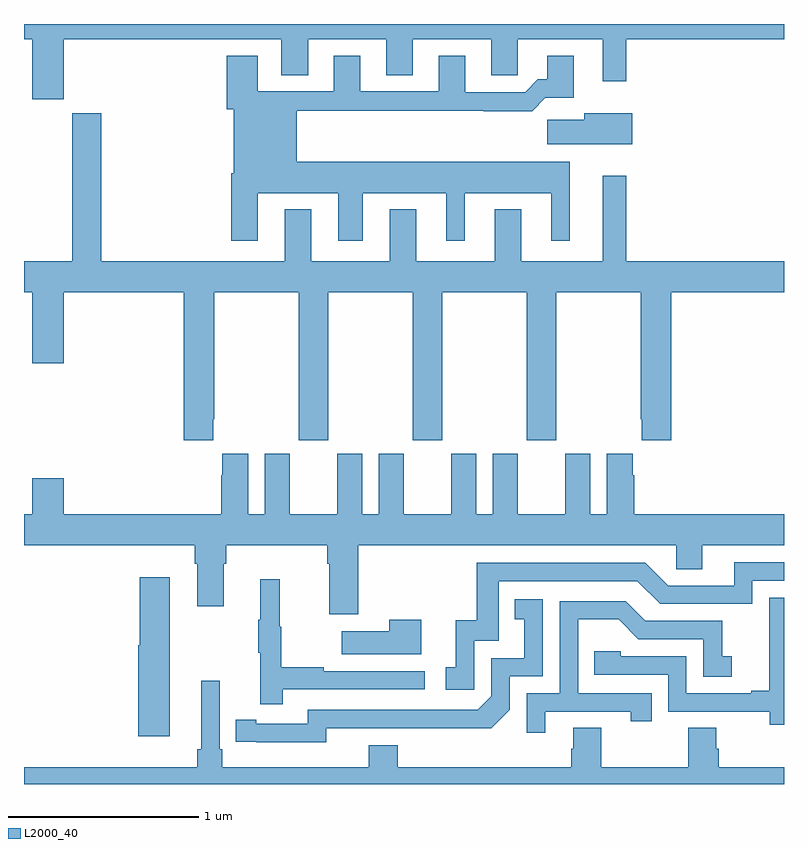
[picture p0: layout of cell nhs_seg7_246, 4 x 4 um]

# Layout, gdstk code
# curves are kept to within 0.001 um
import gdstk
lib = gdstk.Library(unit=1e-6, precision=1e-09)
def P(c, l, *ps):  # polygons
    for p in ps: c.add(gdstk.Polygon(p, *l))
L2000_40 = (2000, 40)

nhs_seg7_246 = lib.new_cell('nhs_seg7_246')
P(nhs_seg7_246, L2000_40, [(129.208,1029.92),(130.355,1029.92),(130.355,1029.73),(130.495,1029.73),(130.495,1029.92),(130.907,1029.92),(130.907,1029.73),(131.047,1029.73),(131.047,1029.92),(131.459,1029.92),(131.459,1029.73),(131.598,1029.73),(131.598,1029.92),(132.047,1029.92),(132.047,1029.699),(132.169,1029.699),(132.169,1029.92),(133,1029.92),(133,1030),(129,1030),(129,1029.92),(129.044,1029.92),(129.044,1029.603),(129.208,1029.603)],
  [(130.231,1029.11),(130.655,1029.11),(130.655,1028.859),(130.783,1028.859),(130.783,1029.11),(131.222,1029.11),(131.222,1028.859),(131.32,1028.859),(131.32,1029.11),(131.774,1029.11),(131.774,1028.859),(131.872,1028.859),(131.872,1029.274),(130.435,1029.274),(130.435,1029.544),(131.419,1029.544),(131.419,1029.542),(131.675,1029.542),(131.744,1029.611),(131.893,1029.611),(131.893,1029.832),(131.753,1029.832),(131.753,1029.709),(131.704,1029.709),(131.637,1029.642),(131.323,1029.642),(131.323,1029.832),(131.183,1029.832),(131.183,1029.645),(130.771,1029.645),(130.771,1029.832),(130.631,1029.832),(130.631,1029.645),(130.231,1029.645),(130.231,1029.832),(130.067,1029.832),(130.067,1029.552),(130.103,1029.552),(130.103,1029.214),(130.091,1029.214),(130.091,1028.859),(130.231,1028.859)],
  [(131.617,1029.025),(131.477,1029.025),(131.477,1028.752),(131.065,1028.752),(131.065,1029.025),(130.925,1029.025),(130.925,1028.752),(130.513,1028.752),(130.513,1029.025),(130.373,1029.025),(130.373,1028.752),(129.407,1028.752),(129.407,1029.531),(129.254,1029.531),(129.254,1028.752),(129,1028.752),(129,1028.588),(129.044,1028.588),(129.044,1028.214),(129.208,1028.214),(129.208,1028.588),(129.842,1028.588),(129.842,1027.809),(129.997,1027.809),(129.997,1027.921),(130.002,1027.921),(130.002,1028.588),(130.447,1028.588),(130.447,1027.809),(130.602,1027.809),(130.602,1028.588),(131.047,1028.588),(131.047,1027.809),(131.202,1027.809),(131.202,1028.588),(131.647,1028.588),(131.647,1027.809),(131.802,1027.809),(131.802,1028.588),(132.247,1028.588),(132.247,1027.921),(132.251,1027.921),(132.251,1027.809),(132.407,1027.809),(132.407,1028.588),(133,1028.588),(133,1028.752),(132.169,1028.752),(132.169,1029.202),(132.047,1029.202),(132.047,1028.752),(131.617,1028.752)],
  [(132.202,1029.529),(131.948,1029.529),(131.948,1029.497),(131.754,1029.497),(131.754,1029.368),(132.202,1029.368)],
  [(130.76,1027.256),(132.432,1027.256),(132.432,1027.129),(132.571,1027.129),(132.571,1027.256),(133,1027.256),(133,1027.42),(132.212,1027.42),(132.212,1027.625),(132.205,1027.625),(132.205,1027.738),(132.068,1027.738),(132.068,1027.42),(131.98,1027.42),(131.98,1027.738),(131.849,1027.738),(131.849,1027.42),(131.599,1027.42),(131.599,1027.738),(131.468,1027.738),(131.468,1027.42),(131.38,1027.42),(131.38,1027.738),(131.249,1027.738),(131.249,1027.42),(130.999,1027.42),(130.999,1027.738),(130.868,1027.738),(130.868,1027.42),(130.78,1027.42),(130.78,1027.738),(130.649,1027.738),(130.649,1027.42),(130.399,1027.42),(130.399,1027.738),(130.268,1027.738),(130.268,1027.42),(130.18,1027.42),(130.18,1027.738),(130.043,1027.738),(130.043,1027.625),(130.037,1027.625),(130.037,1027.42),(129.208,1027.42),(129.208,1027.609),(129.044,1027.609),(129.044,1027.42),(129,1027.42),(129,1027.256),(129.899,1027.256),(129.899,1027.16),(129.911,1027.16),(129.911,1026.936),(130.051,1026.936),(130.051,1027.16),(130.064,1027.16),(130.064,1027.256),(130.595,1027.256),(130.595,1027.16),(130.607,1027.16),(130.607,1026.894),(130.76,1026.894)],
  [(131.37,1026.753),(131.499,1026.753),(131.499,1027.068),(132.228,1027.068),(132.348,1026.948),(132.834,1026.948),(132.834,1027.071),(133,1027.071),(133,1027.167),(132.737,1027.167),(132.737,1027.044),(132.39,1027.044),(132.27,1027.164),(131.383,1027.164),(131.383,1026.862),(131.273,1026.862),(131.273,1026.615),(131.22,1026.615),(131.22,1026.495),(131.37,1026.495)],
  [(129.766,1027.087),(129.608,1027.087),(129.608,1026.729),(129.602,1026.729),(129.602,1026.252),(129.766,1026.252)],
  [(130.361,1026.498),(131.11,1026.498),(131.11,1026.594),(130.577,1026.594),(130.577,1026.614),(130.354,1026.614),(130.354,1026.828),(130.346,1026.828),(130.346,1027.078),(130.244,1027.078),(130.244,1026.865),(130.233,1026.865),(130.233,1026.691),(130.244,1026.691),(130.244,1026.42),(130.361,1026.42)],
  [(133,1026.979),(132.922,1026.979),(132.922,1026.773),(132.923,1026.773),(132.923,1026.49),(132.827,1026.49),(132.827,1026.477),(132.486,1026.477),(132.486,1026.672),(132.141,1026.672),(132.141,1026.699),(132.001,1026.699),(132.001,1026.576),(132.39,1026.576),(132.39,1026.381),(132.924,1026.381),(132.924,1026.313),(133,1026.313)],
  [(130.59,1026.294),(131.458,1026.293),(131.556,1026.39),(131.556,1026.567),(131.73,1026.567),(131.73,1026.973),(131.584,1026.973),(131.584,1026.867),(131.633,1026.867),(131.633,1026.663),(131.46,1026.663),(131.46,1026.462),(131.388,1026.39),(130.494,1026.39),(130.494,1026.318),(130.222,1026.318),(130.222,1026.338),(130.114,1026.338),(130.114,1026.222),(130.59,1026.221)],
  [(131.743,1026.381),(132.194,1026.381),(132.194,1026.33),(132.305,1026.33),(132.305,1026.477),(131.916,1026.477),(131.916,1026.866),(132.13,1026.866),(132.234,1026.762),(132.576,1026.762),(132.576,1026.564),(132.724,1026.564),(132.724,1026.673),(132.675,1026.673),(132.675,1026.858),(132.271,1026.858),(132.166,1026.963),(131.82,1026.963),(131.82,1026.477),(131.646,1026.477),(131.646,1026.27),(131.743,1026.27)],
  [(131.092,1026.865),(130.922,1026.865),(130.922,1026.805),(130.673,1026.805),(130.673,1026.683),(131.092,1026.683)],
  [(133,1026.088),(132.656,1026.088),(132.656,1026.186),(132.643,1026.186),(132.643,1026.296),(132.496,1026.296),(132.496,1026.088),(132.039,1026.088),(132.039,1026.296),(131.891,1026.296),(131.891,1026.186),(131.879,1026.186),(131.879,1026.088),(130.967,1026.088),(130.967,1026.205),(130.814,1026.205),(130.814,1026.088),(130.043,1026.088),(130.043,1026.184),(130.029,1026.184),(130.029,1026.544),(129.932,1026.544),(129.932,1026.184),(129.913,1026.184),(129.913,1026.088),(129,1026.088),(129,1026),(133,1026)])

lib.write_gds('nhs_seg7_246.gds')
